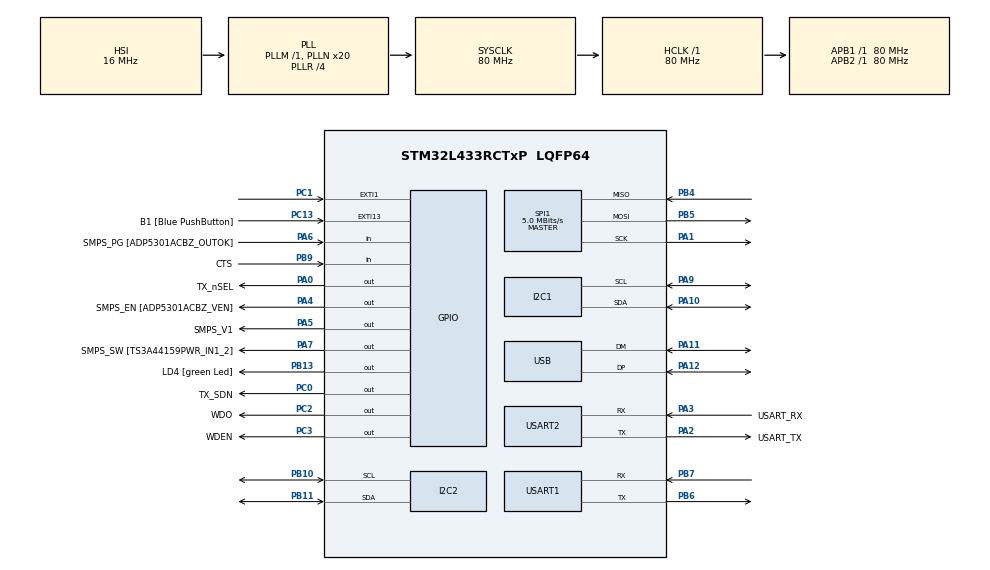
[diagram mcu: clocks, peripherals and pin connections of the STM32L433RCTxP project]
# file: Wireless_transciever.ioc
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I2C1.Timing=0x10909CEC
I2C2.Timing=0x10909CEC
Mcu.Family=STM32L4
Mcu.Name=STM32L433RCTxP
Mcu.Package=LQFP64
NVIC.EXTI1_IRQn=true\:0\:0\:false\:false\:true\:true\:true
NVIC.PriorityGroup=NVIC_PRIORITYGROUP_4
NVIC.USART1_IRQn=true\:0\:0\:false\:false\:true\:true\:true
PA0.GPIO_Label=TX_nSEL
PA0.Signal=GPIO_Output
PA1.Mode=Full_Duplex_Master
PA1.Signal=SPI1_SCK
PA10.Mode=I2C
PA10.Signal=I2C1_SDA
PA11.Mode=Device
PA11.Signal=USB_DM
PA12.Mode=Device
PA12.Signal=USB_DP
PA13\ (JTMS-SWDIO).GPIO_Label=TMS
PA13\ (JTMS-SWDIO).Mode=Serial_Wire
PA13\ (JTMS-SWDIO).Signal=SYS_JTMS-SWDIO
PA14\ (JTCK-SWCLK).GPIO_Label=TCK
PA14\ (JTCK-SWCLK).Mode=Serial_Wire
PA14\ (JTCK-SWCLK).Signal=SYS_JTCK-SWCLK
PA2.GPIO_Label=USART_TX
PA2.GPIO_Mode=GPIO_MODE_AF_PP
PA2.GPIO_PuPd=GPIO_NOPULL
PA2.GPIO_Speed=GPIO_SPEED_FREQ_VERY_HIGH
PA2.Mode=Asynchronous
PA2.Signal=USART2_TX
PA3.GPIO_Label=USART_RX
PA3.GPIO_Mode=GPIO_MODE_AF_PP
PA3.GPIO_PuPd=GPIO_NOPULL
PA3.GPIO_Speed=GPIO_SPEED_FREQ_VERY_HIGH
PA3.Mode=Asynchronous
PA3.Signal=USART2_RX
PA4.GPIO_Label=SMPS_EN [ADP5301ACBZ_VEN]
PA4.Signal=GPIO_Output
PA5.GPIO_Label=SMPS_V1
PA5.GPIO_ModeDefaultOutputPP=GPIO_MODE_OUTPUT_PP
PA5.GPIO_PuPd=GPIO_NOPULL
PA5.GPIO_Speed=GPIO_SPEED_FREQ_LOW
PA5.Signal=GPIO_Output
PA6.GPIO_Label=SMPS_PG [ADP5301ACBZ_OUTOK]
PA6.GPIO_PuPd=GPIO_PULLUP
PA6.Signal=GPIO_Input
PA7.GPIO_Label=SMPS_SW [TS3A44159PWR_IN1_2]
PA7.Signal=GPIO_Output
PA9.Mode=I2C
PA9.Signal=I2C1_SCL
PB10.Mode=I2C
PB10.Signal=I2C2_SCL
PB11.Mode=I2C
PB11.Signal=I2C2_SDA
PB13.GPIO_Label=LD4 [green Led]
PB13.Signal=GPIO_Output
PB3\ (JTDO-TRACESWO).GPIO_Label=SWO
PB3\ (JTDO-TRACESWO).Signal=SYS_JTDO-SWO
PB4\ (NJTRST).Mode=Full_Duplex_Master
PB4\ (NJTRST).Signal=SPI1_MISO
PB5.Mode=Full_Duplex_Master
PB5.Signal=SPI1_MOSI
PB6.Mode=Asynchronous
PB6.Signal=USART1_TX
PB7.Mode=Asynchronous
PB7.Signal=USART1_RX
PB9.GPIO_Label=CTS
PB9.Signal=GPIO_Input
PC0.GPIO_Label=TX_SDN
PC0.Signal=GPIO_Output
PC1.GPIO_ModeDefaultEXTI=GPIO_MODE_IT_FALLING
PC1.Signal=GPXTI1
PC13.GPIO_Label=B1 [Blue PushButton]
PC13.GPIO_ModeDefaultEXTI=GPIO_MODE_IT_FALLING
PC13.GPIO_PuPd=GPIO_NOPULL
PC13.Signal=GPXTI13
PC14-OSC32_IN\ (PC14).Mode=LSE-External-Oscillator
PC14-OSC32_IN\ (PC14).Signal=RCC_OSC32_IN
PC15-OSC32_OUT\ (PC15).Mode=LSE-External-Oscillator
PC15-OSC32_OUT\ (PC15).Signal=RCC_OSC32_OUT
PC2.GPIO_Label=WDO
PC2.Signal=GPIO_Output
PC3.GPIO_Label=WDEN
PC3.Signal=GPIO_Output
PH0-OSC_IN\ (PH0).GPIO_Label=MCO
PH0-OSC_IN\ (PH0).Mode=HSE-External-Clock-Source
PH0-OSC_IN\ (PH0).Signal=RCC_OSC_IN
PH1-OSC_OUT\ (PH1).Signal=RCC_OSC_OUT
ProjectManager.HeapSize=0x200
ProjectManager.StackSize=0x400
ProjectManager.TargetToolchain=MDK-ARM V5.32
RCC.ADCFreq_Value=80000000
RCC.AHBFreq_Value=80000000
RCC.APB1Freq_Value=80000000
RCC.APB1TimFreq_Value=80000000
RCC.APB2Freq_Value=80000000
RCC.APB2TimFreq_Value=80000000
RCC.CK48CLockSelection=RCC_USBCLKSOURCE_HSI48
RCC.CortexFreq_Value=80000000
RCC.HCLKFreq_Value=80000000
RCC.HSE_VALUE=8000000
RCC.HSI48_VALUE=48000000
RCC.HSI_VALUE=16000000
RCC.MSI_VALUE=4000000
RCC.PLLN=20
RCC.PLLR=RCC_PLLR_DIV4
RCC.PLLSAI1N=10
RCC.PLLSourceVirtual=RCC_PLLSOURCE_HSI
RCC.PREFETCH_ENABLE=1
RCC.SYSCLKFreq_VALUE=80000000
RCC.SYSCLKSource=RCC_SYSCLKSOURCE_PLLCLK
RCC.USBFreq_Value=48000000
RCC.VCOOutputFreq_Value=320000000
SPI1.BaudRatePrescaler=SPI_BAUDRATEPRESCALER_16
SPI1.CalculateBaudRate=5.0 MBits/s
SPI1.DataSize=SPI_DATASIZE_8BIT
SPI1.Direction=SPI_DIRECTION_2LINES
SPI1.Mode=SPI_MODE_MASTER
SPI1.VirtualType=VM_MASTER
USART1.VirtualMode-Asynchronous=VM_ASYNC
USART2.VirtualMode-Asynchronous=VM_ASYNC
board=NUCLEO-L433RC-P

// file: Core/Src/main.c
/* USER CODE BEGIN Header */
/**
  ******************************************************************************
  * @file           : main.c
  * @brief          : Main program body
  ******************************************************************************
  * @attention
  *
  * Copyright (c) 2023 STMicroelectronics.
  * All rights reserved.
  *
  * This software is licensed under terms that can be found in the LICENSE file
  * in the root directory of this software component.
  * If no LICENSE file comes with this software, it is provided AS-IS.
  *
  ******************************************************************************
  */
/* USER CODE END Header */
#include "main.h"

/* USER CODE BEGIN Includes */
#include "si4463.h"
#include <stdlib.h>
/* USER CODE END Includes */

I2C_HandleTypeDef hi2c1;
I2C_HandleTypeDef hi2c2;

SPI_HandleTypeDef hspi1;

UART_HandleTypeDef huart1;
UART_HandleTypeDef huart2;

PCD_HandleTypeDef hpcd_USB_FS;

/* USER CODE BEGIN PV */
#define APP_PACKET_LEN		((uint16_t) 10)

si4463_t si4463;
uint8_t incomingBuffer[APP_PACKET_LEN];
uint8_t outgoingBuffer[APP_PACKET_LEN];

/* USER CODE END PV */

void SystemClock_Config(void);
static void MX_GPIO_Init(void);
static void MX_I2C1_Init(void);
static void MX_I2C2_Init(void);
static void MX_SPI1_Init(void);
static void MX_USART2_UART_Init(void);
static void MX_USB_PCD_Init(void);
static void MX_USART1_UART_Init(void);
/* USER CODE BEGIN PFP */
void refresh_watchdog(void);
uint8_t SI4463_IsCTS(void);
void SI4463_WriteRead(const uint8_t * pTxData, uint8_t * pRxData, const uint16_t sizeTxData);
void SI4463_SetShutdown(void);
void SI4463_ClearShutdown(void);
void SI4463_Select(void);
void SI4463_Deselect(void);
/* USER CODE END PFP */

int main(void)
{

  /* MCU Configuration--------------------------------------------------------*/

  /* Reset of all peripherals, Initializes the Flash interface and the Systick. */
  HAL_Init();

  /* Configure the system clock */
  SystemClock_Config();

  /* Initialize all configured peripherals */
  MX_GPIO_Init();
  MX_I2C1_Init();
  MX_I2C2_Init();
  MX_SPI1_Init();
  MX_USART2_UART_Init();
  MX_USB_PCD_Init();
  MX_USART1_UART_Init();
  /* USER CODE BEGIN 2 */
#ifdef DEMOFEST
  /* Debug message on uart */
  HAL_UART_Transmit(&huart1, "START\n", 6, 10);
#endif

  /* Assign functions */
  si4463.IsClearToSend = SI4463_IsCTS;
  si4463.WriteRead = SI4463_WriteRead;
  si4463.Select = SI4463_Select;
  si4463.Deselect = SI4463_Deselect;
  si4463.SetShutdown = SI4463_SetShutdown;
  si4463.ClearShutdown = SI4463_ClearShutdown;
  si4463.DelayMs = HAL_Delay;

  /* Disable interrupt pin for init Si4463 */
  HAL_NVIC_DisableIRQ(EXTI0_IRQn);

  /* Init Si4463 with structure */
  SI4463_Init(&si4463);

  /* Clear RX FIFO before starting RX packets */
  SI4463_ClearRxFifo(&si4463);
  /* Start RX mode.
   * SI4463_StartRx() put a chip in non-armed mode in cases:
   * - successfully receive a packet;
   * - invoked RX_TIMEOUT;
   * - invalid receive.
   * For receiveing next packet you have to invoke SI4463_StartRx() again!*/
  SI4463_StartRx(&si4463, APP_PACKET_LEN, false, false, false);

#ifdef DEMOFEST
  /* Debug message on UART */
  HAL_UART_Transmit(&huart1, "INIT\n", 5, 10);
#endif

  /* Enable interrupt pin and */
  HAL_NVIC_EnableIRQ(EXTI0_IRQn);
  /* Clear interrupts after enabling interrupt pin.
   * Without it may be situation when interrupt is asserted but pin not cleared.*/
  SI4463_ClearInterrupts(&si4463);
  /* USER CODE END 2 */

  /* Infinite loop */
  while (1)
  {

    /* USER CODE BEGIN 3 */
		for(int i = 0; i<100;i++)
		{
		/* Send test packet */
	  outgoingBuffer[0] = rand() & 0xFF;
	  outgoingBuffer[1] = rand() & 0xFF;
	  outgoingBuffer[2] = rand() & 0xFF;
	  outgoingBuffer[3] = rand() & 0xFF;
	  outgoingBuffer[4] = rand() & 0xFF;
	  outgoingBuffer[5] = rand() & 0xFF;
	  outgoingBuffer[6] = rand() & 0xFF;
	  SI4463_Transmit(&si4463, outgoingBuffer, APP_PACKET_LEN);
		refresh_watchdog();
	  HAL_Delay(100);//here you can select how fast you want to transmit

	  /* End of send of test packet */
		}
		for(int j = 0; j<100;j++)
		{
		SI4463_ClearRxFifo(&si4463);
  /* Start RX mode.
   * SI4463_StartRx() put a chip in non-armed mode in cases:
   * - successfully receive a packet;
   * - invoked RX_TIMEOUT;
   * - invalid receive.
   * For receiveing next packet you have to invoke SI4463_StartRx() again!*/
  SI4463_StartRx(&si4463, APP_PACKET_LEN, false, false, false);
		refresh_watchdog();
	  HAL_Delay(100);//here you can select how fast you want to transmit

	  /* End of send of test packet */
		}

  }
  /* USER CODE END 3 */
}

void SystemClock_Config(void)
{
  RCC_OscInitTypeDef RCC_OscInitStruct = {0};
  RCC_ClkInitTypeDef RCC_ClkInitStruct = {0};

  /** Configure the main internal regulator output voltage
  */
  if (HAL_PWREx_ControlVoltageScaling(PWR_REGULATOR_VOLTAGE_SCALE1) != HAL_OK)
  {
    Error_Handler();
  }
  /** Initializes the RCC Oscillators according to the specified parameters
  * in the RCC_OscInitTypeDef structure.
  */
  RCC_OscInitStruct.OscillatorType = RCC_OSCILLATORTYPE_HSI48|RCC_OSCILLATORTYPE_HSI;
  RCC_OscInitStruct.HSIState = RCC_HSI_ON;
  RCC_OscInitStruct.HSI48State = RCC_HSI48_ON;
  RCC_OscInitStruct.HSICalibrationValue = RCC_HSICALIBRATION_DEFAULT;
  RCC_OscInitStruct.PLL.PLLState = RCC_PLL_ON;
  RCC_OscInitStruct.PLL.PLLSource = RCC_PLLSOURCE_HSI;
  RCC_OscInitStruct.PLL.PLLM = 1;
  RCC_OscInitStruct.PLL.PLLN = 20;
  RCC_OscInitStruct.PLL.PLLP = RCC_PLLP_DIV7;
  RCC_OscInitStruct.PLL.PLLQ = RCC_PLLQ_DIV2;
  RCC_OscInitStruct.PLL.PLLR = RCC_PLLR_DIV4;
  if (HAL_RCC_OscConfig(&RCC_OscInitStruct) != HAL_OK)
  {
    Error_Handler();
  }
  /** Initializes the CPU, AHB and APB buses clocks
  */
  RCC_ClkInitStruct.ClockType = RCC_CLOCKTYPE_HCLK|RCC_CLOCKTYPE_SYSCLK
                              |RCC_CLOCKTYPE_PCLK1|RCC_CLOCKTYPE_PCLK2;
  RCC_ClkInitStruct.SYSCLKSource = RCC_SYSCLKSOURCE_PLLCLK;
  RCC_ClkInitStruct.AHBCLKDivider = RCC_SYSCLK_DIV1;
  RCC_ClkInitStruct.APB1CLKDivider = RCC_HCLK_DIV1;
  RCC_ClkInitStruct.APB2CLKDivider = RCC_HCLK_DIV1;

  if (HAL_RCC_ClockConfig(&RCC_ClkInitStruct, FLASH_LATENCY_4) != HAL_OK)
  {
    Error_Handler();
  }
}

static void MX_I2C1_Init(void)
{

  hi2c1.Instance = I2C1;
  hi2c1.Init.Timing = 0x10909CEC;
  hi2c1.Init.OwnAddress1 = 0;
  hi2c1.Init.AddressingMode = I2C_ADDRESSINGMODE_7BIT;
  hi2c1.Init.DualAddressMode = I2C_DUALADDRESS_DISABLE;
  hi2c1.Init.OwnAddress2 = 0;
  hi2c1.Init.OwnAddress2Masks = I2C_OA2_NOMASK;
  hi2c1.Init.GeneralCallMode = I2C_GENERALCALL_DISABLE;
  hi2c1.Init.NoStretchMode = I2C_NOSTRETCH_DISABLE;
  if (HAL_I2C_Init(&hi2c1) != HAL_OK)
  {
    Error_Handler();
  }
  /** Configure Analogue filter
  */
  if (HAL_I2CEx_ConfigAnalogFilter(&hi2c1, I2C_ANALOGFILTER_ENABLE) != HAL_OK)
  {
    Error_Handler();
  }
  /** Configure Digital filter
  */
  if (HAL_I2CEx_ConfigDigitalFilter(&hi2c1, 0) != HAL_OK)
  {
    Error_Handler();
  }

}

static void MX_I2C2_Init(void)
{

  hi2c2.Instance = I2C2;
  hi2c2.Init.Timing = 0x10909CEC;
  hi2c2.Init.OwnAddress1 = 0;
  hi2c2.Init.AddressingMode = I2C_ADDRESSINGMODE_7BIT;
  hi2c2.Init.DualAddressMode = I2C_DUALADDRESS_DISABLE;
  hi2c2.Init.OwnAddress2 = 0;
  hi2c2.Init.OwnAddress2Masks = I2C_OA2_NOMASK;
  hi2c2.Init.GeneralCallMode = I2C_GENERALCALL_DISABLE;
  hi2c2.Init.NoStretchMode = I2C_NOSTRETCH_DISABLE;
  if (HAL_I2C_Init(&hi2c2) != HAL_OK)
  {
    Error_Handler();
  }
  /** Configure Analogue filter
  */
  if (HAL_I2CEx_ConfigAnalogFilter(&hi2c2, I2C_ANALOGFILTER_ENABLE) != HAL_OK)
  {
    Error_Handler();
  }
  /** Configure Digital filter
  */
  if (HAL_I2CEx_ConfigDigitalFilter(&hi2c2, 0) != HAL_OK)
  {
    Error_Handler();
  }

}

static void MX_SPI1_Init(void)
{

  /* SPI1 parameter configuration*/
  hspi1.Instance = SPI1;
  hspi1.Init.Mode = SPI_MODE_MASTER;
  hspi1.Init.Direction = SPI_DIRECTION_2LINES;
  hspi1.Init.DataSize = SPI_DATASIZE_8BIT;
  hspi1.Init.CLKPolarity = SPI_POLARITY_LOW;
  hspi1.Init.CLKPhase = SPI_PHASE_1EDGE;
  hspi1.Init.NSS = SPI_NSS_SOFT;
  hspi1.Init.BaudRatePrescaler = SPI_BAUDRATEPRESCALER_16;
  hspi1.Init.FirstBit = SPI_FIRSTBIT_MSB;
  hspi1.Init.TIMode = SPI_TIMODE_DISABLE;
  hspi1.Init.CRCCalculation = SPI_CRCCALCULATION_DISABLE;
  hspi1.Init.CRCPolynomial = 7;
  hspi1.Init.CRCLength = SPI_CRC_LENGTH_DATASIZE;
  hspi1.Init.NSSPMode = SPI_NSS_PULSE_ENABLE;
  if (HAL_SPI_Init(&hspi1) != HAL_OK)
  {
    Error_Handler();
  }

}

static void MX_USART1_UART_Init(void)
{

  huart1.Instance = USART1;
  huart1.Init.BaudRate = 115200;
  huart1.Init.WordLength = UART_WORDLENGTH_8B;
  huart1.Init.StopBits = UART_STOPBITS_1;
  huart1.Init.Parity = UART_PARITY_NONE;
  huart1.Init.Mode = UART_MODE_TX_RX;
  huart1.Init.HwFlowCtl = UART_HWCONTROL_NONE;
  huart1.Init.OverSampling = UART_OVERSAMPLING_16;
  huart1.Init.OneBitSampling = UART_ONE_BIT_SAMPLE_DISABLE;
  huart1.AdvancedInit.AdvFeatureInit = UART_ADVFEATURE_NO_INIT;
  if (HAL_UART_Init(&huart1) != HAL_OK)
  {
    Error_Handler();
  }

}

static void MX_USART2_UART_Init(void)
{

  huart2.Instance = USART2;
  huart2.Init.BaudRate = 115200;
  huart2.Init.WordLength = UART_WORDLENGTH_8B;
  huart2.Init.StopBits = UART_STOPBITS_1;
  huart2.Init.Parity = UART_PARITY_NONE;
  huart2.Init.Mode = UART_MODE_TX_RX;
  huart2.Init.HwFlowCtl = UART_HWCONTROL_NONE;
  huart2.Init.OverSampling = UART_OVERSAMPLING_16;
  huart2.Init.OneBitSampling = UART_ONE_BIT_SAMPLE_DISABLE;
  huart2.AdvancedInit.AdvFeatureInit = UART_ADVFEATURE_NO_INIT;
  if (HAL_UART_Init(&huart2) != HAL_OK)
  {
    Error_Handler();
  }

}

static void MX_USB_PCD_Init(void)
{

  hpcd_USB_FS.Instance = USB;
  hpcd_USB_FS.Init.dev_endpoints = 8;
  hpcd_USB_FS.Init.speed = PCD_SPEED_FULL;
  hpcd_USB_FS.Init.phy_itface = PCD_PHY_EMBEDDED;
  hpcd_USB_FS.Init.Sof_enable = DISABLE;
  hpcd_USB_FS.Init.low_power_enable = DISABLE;
  hpcd_USB_FS.Init.lpm_enable = DISABLE;
  hpcd_USB_FS.Init.battery_charging_enable = DISABLE;
  if (HAL_PCD_Init(&hpcd_USB_FS) != HAL_OK)
  {
    Error_Handler();
  }

}

static void MX_GPIO_Init(void)
{
  GPIO_InitTypeDef GPIO_InitStruct = {0};

  /* GPIO Ports Clock Enable */
  __HAL_RCC_GPIOC_CLK_ENABLE();
  __HAL_RCC_GPIOH_CLK_ENABLE();
  __HAL_RCC_GPIOA_CLK_ENABLE();
  __HAL_RCC_GPIOB_CLK_ENABLE();

  /*Configure GPIO pin Output Level */
  HAL_GPIO_WritePin(GPIOC, TX_SDN_Pin|WDO_Pin|WDEN_Pin, GPIO_PIN_RESET);

  /*Configure GPIO pin Output Level */
  HAL_GPIO_WritePin(GPIOA, TX_nSEL_Pin|SMPS_EN_Pin|SMPS_V1_Pin|SMPS_SW_Pin, GPIO_PIN_RESET);

  /*Configure GPIO pin Output Level */
  HAL_GPIO_WritePin(LD4_GPIO_Port, LD4_Pin, GPIO_PIN_RESET);

  /*Configure GPIO pins : B1_Pin PC1 */
  GPIO_InitStruct.Pin = B1_Pin|GPIO_PIN_1;
  GPIO_InitStruct.Mode = GPIO_MODE_IT_FALLING;
  GPIO_InitStruct.Pull = GPIO_NOPULL;
  HAL_GPIO_Init(GPIOC, &GPIO_InitStruct);

  /*Configure GPIO pins : TX_SDN_Pin WDO_Pin WDEN_Pin */
  GPIO_InitStruct.Pin = TX_SDN_Pin|WDO_Pin|WDEN_Pin;
  GPIO_InitStruct.Mode = GPIO_MODE_OUTPUT_PP;
  GPIO_InitStruct.Pull = GPIO_NOPULL;
  GPIO_InitStruct.Speed = GPIO_SPEED_FREQ_LOW;
  HAL_GPIO_Init(GPIOC, &GPIO_InitStruct);

  /*Configure GPIO pins : TX_nSEL_Pin SMPS_EN_Pin SMPS_V1_Pin SMPS_SW_Pin */
  GPIO_InitStruct.Pin = TX_nSEL_Pin|SMPS_EN_Pin|SMPS_V1_Pin|SMPS_SW_Pin;
  GPIO_InitStruct.Mode = GPIO_MODE_OUTPUT_PP;
  GPIO_InitStruct.Pull = GPIO_NOPULL;
  GPIO_InitStruct.Speed = GPIO_SPEED_FREQ_LOW;
  HAL_GPIO_Init(GPIOA, &GPIO_InitStruct);

  /*Configure GPIO pin : SMPS_PG_Pin */
  GPIO_InitStruct.Pin = SMPS_PG_Pin;
  GPIO_InitStruct.Mode = GPIO_MODE_INPUT;
  GPIO_InitStruct.Pull = GPIO_PULLUP;
  HAL_GPIO_Init(SMPS_PG_GPIO_Port, &GPIO_InitStruct);

  /*Configure GPIO pin : LD4_Pin */
  GPIO_InitStruct.Pin = LD4_Pin;
  GPIO_InitStruct.Mode = GPIO_MODE_OUTPUT_PP;
  GPIO_InitStruct.Pull = GPIO_NOPULL;
  GPIO_InitStruct.Speed = GPIO_SPEED_FREQ_LOW;
  HAL_GPIO_Init(LD4_GPIO_Port, &GPIO_InitStruct);

  /*Configure GPIO pin : CTS_Pin */
  GPIO_InitStruct.Pin = CTS_Pin;
  GPIO_InitStruct.Mode = GPIO_MODE_INPUT;
  GPIO_InitStruct.Pull = GPIO_NOPULL;
  HAL_GPIO_Init(CTS_GPIO_Port, &GPIO_InitStruct);

  /* EXTI interrupt init*/
  HAL_NVIC_SetPriority(EXTI1_IRQn, 0, 0);
  HAL_NVIC_EnableIRQ(EXTI1_IRQn);

}

/* USER CODE BEGIN 4 */
void HAL_GPIO_EXTI_Callback(uint16_t GPIO_Pin)
{
  /* Prevent unused argument(s) compilation warning */
  UNUSED(GPIO_Pin);

  /* Clear incoming buffer */
  memset(incomingBuffer, 0x00, APP_PACKET_LEN);

  /* Get interrupts and work with it */
  SI4463_GetInterrupts(&si4463);

  /* Handling PH interrupts */
  if (si4463.interrupts.filterMatch)
  {
	  /* Handling this interrupt here */
	  /* Following instruction only for add breakpoints. May be deleted */
	  si4463.interrupts.filterMatch = false;
  }
  if (si4463.interrupts.filterMiss)
  {
	  /* Handling this interrupt here */
	  /* Following instruction only for add breakpoints. May be deleted */
	  si4463.interrupts.filterMiss = false;
  }
  if (si4463.interrupts.packetSent)
  {
	  /* Handling this interrupt here */
	  /* Clear TX FIFO */
	  SI4463_ClearTxFifo(&si4463);
#ifdef DEMOFEST
	  HAL_UART_Transmit(&huart1, "OUT >", 5, 10);
	  HAL_UART_Transmit(&huart1, outgoingBuffer, APP_PACKET_LEN, 10);
	  HAL_UART_Transmit(&huart1, "\n", 1, 10);
#endif /* DEMOFEST */
	  /* Re-arm StartRX */
	  SI4463_StartRx(&si4463, APP_PACKET_LEN, false, false, false);

	  /*Toggle led for indication*/
	  HAL_GPIO_TogglePin(LD4_GPIO_Port, LD4_Pin);
	  /* Following instruction only for add breakpoints. May be deleted */
	  si4463.interrupts.packetSent = false;
  }
  if (si4463.interrupts.packetRx)
  {
	  /* Handling this interrupt here */
	  /* Get FIFO data */
	  SI4463_ReadRxFifo(&si4463, incomingBuffer, APP_PACKET_LEN);
	  /* Clear RX FIFO */
	  SI4463_ClearRxFifo(&si4463);
#ifdef DEMOFEST
	  HAL_UART_Transmit(&huart1, "IN >", 4, 10);
	  HAL_UART_Transmit(&huart1, incomingBuffer, APP_PACKET_LEN, 10);
	  HAL_UART_Transmit(&huart1, "\n", 1, 10);
#endif /* DEMOFEST */

	  /* Start RX again.
	   * It need because after successful receive a packet the chip change
	   * state to READY.
	   * There is re-armed mode for StartRx but it not correctly working */
	  SI4463_StartRx(&si4463, APP_PACKET_LEN, false, false, false);

	  /*Toggle led for indication*/
	  HAL_GPIO_TogglePin(LD4_GPIO_Port, LD4_Pin);

	  /* Following instruction only for add breakpoints. May be deleted */
	  si4463.interrupts.packetRx = false;
  }
  if (si4463.interrupts.crcError)
  {
	  /* Handling this interrupt here */

	  /* Following instruction only for add breakpoints. May be deleted */
	  si4463.interrupts.crcError = false;
  }
  if (si4463.interrupts.txFifoAlmostEmpty)
  {
	  /* Handling this interrupt here */

	  /* Following instruction only for add breakpoints. May be deleted */
	  si4463.interrupts.txFifoAlmostEmpty = false;
  }
  if (si4463.interrupts.rxFifoAlmostFull)
  {
	  /* Handling this interrupt here */

	  /* Following instruction only for add breakpoints. May be deleted */
	  si4463.interrupts.rxFifoAlmostFull = false;
  }

  /* Handling Modem interrupts */
  if (si4463.interrupts.postambleDetect)
  {
	  /* Handling this interrupt here */
	  /* Following instruction only for add breakpoints. May be deleted */
	  si4463.interrupts.postambleDetect = false;
  }
  if (si4463.interrupts.invalidSync)
  {
	  /* Handling this interrupt here */
	  /* Following instruction only for add breakpoints. May be deleted */
	  si4463.interrupts.invalidSync = false;
  }
  if (si4463.interrupts.rssiJump)
  {
	  /* Handling this interrupt here */
	  /* Following instruction only for add breakpoints. May be deleted */
	  si4463.interrupts.rssiJump = false;
  }
  if (si4463.interrupts.rssi)
  {
	  /* Handling this interrupt here */
	  /* Following instruction only for add breakpoints. May be deleted */
	  si4463.interrupts.rssi = false;
  }
  if (si4463.interrupts.invalidPreamble)
  {
	  /* Handling this interrupt here */
	  /* Following instruction only for add breakpoints. May be deleted */
	  si4463.interrupts.invalidPreamble = false;
  }
  if (si4463.interrupts.preambleDetect)
  {
	  /* Handling this interrupt here */
	  /* Following instruction only for add breakpoints. May be deleted */
	  si4463.interrupts.preambleDetect = false;
  }
  if (si4463.interrupts.syncDetect)
  {
	  /* Handling this interrupt here */
	  /* Following instruction only for add breakpoints. May be deleted */
	  si4463.interrupts.syncDetect = false;
  }

  /* Handling Chip interrupts */
  if (si4463.interrupts.cal)
  {
	  /* Handling this interrupt here */
	  SI4463_GetChipStatus(&si4463);
	  /* Following instruction only for add breakpoints. May be deleted */
	  si4463.interrupts.cal = false;
  }
  if (si4463.interrupts.fifoUnderflowOverflowError)
  {
	  /* Handling this interrupt here */
	  /* Clear RX FIFO */
	  SI4463_ClearRxFifo(&si4463);
	  /* Claer Chip Status errors if exists */
	  SI4463_GetChipStatus(&si4463);
	  /* Following instruction only for add breakpoints. May be deleted */
	  si4463.interrupts.fifoUnderflowOverflowError = false;
  }
  if (si4463.interrupts.stateChange)
  {
	  /* Handling this interrupt here */
	  SI4463_GetChipStatus(&si4463);
	  /* Following instruction only for add breakpoints. May be deleted */
	  si4463.interrupts.stateChange = false;
  }
  if (si4463.interrupts.cmdError)
  {
	  /* Handling this interrupt here */
	  SI4463_GetChipStatus(&si4463);
	  /* Following instruction only for add breakpoints. May be deleted */
	  si4463.interrupts.stateChange = false;
  }
  if (si4463.interrupts.chipReady)
  {
	  /* Handling this interrupt here */
	  SI4463_GetChipStatus(&si4463);
	  /* Following instruction only for add breakpoints. May be deleted */
	  si4463.interrupts.chipReady = false;
  }
  if (si4463.interrupts.lowBatt)
  {
	  /* Handling this interrupt here */
	  SI4463_GetChipStatus(&si4463);
	  /* Following instruction only for add breakpoints. May be deleted */
	  si4463.interrupts.lowBatt = false;
  }
  if (si4463.interrupts.wut)
  {
	  /* Handling this interrupt here */
	  SI4463_GetChipStatus(&si4463);
	  /* Following instruction only for add breakpoints. May be deleted */
	  si4463.interrupts.wut = false;
  }

  /* Clear All interrupts before exit */
  SI4463_ClearAllInterrupts(&si4463);
}

void HAL_UART_RxCpltCallback(UART_HandleTypeDef *huart)
{
  /* Prevent unused argument(s) compilation warning */
  UNUSED(huart);
}

uint8_t SI4463_IsCTS(void)
{
	if(HAL_GPIO_ReadPin(CTS_GPIO_Port, CTS_Pin) == GPIO_PIN_SET)
	{
		return true;
	}
	else
	{
		return false;
	}
}

void SI4463_WriteRead(const uint8_t * pTxData, uint8_t * pRxData, const uint16_t sizeTxData)
{
	HAL_SPI_TransmitReceive(&hspi1, (uint8_t*)pTxData, pRxData, sizeTxData, 100);
}

void SI4463_SetShutdown(void)
{
	HAL_GPIO_WritePin(TX_SDN_GPIO_Port, TX_SDN_Pin, GPIO_PIN_SET);
}

void SI4463_ClearShutdown(void)
{
	HAL_GPIO_WritePin(TX_SDN_GPIO_Port, TX_SDN_Pin, GPIO_PIN_RESET);
}

void SI4463_Select(void)
{
	HAL_GPIO_WritePin(TX_nSEL_GPIO_Port, TX_nSEL_Pin, GPIO_PIN_RESET);
}

void SI4463_Deselect(void)
{
	HAL_GPIO_WritePin(TX_nSEL_GPIO_Port, TX_nSEL_Pin, GPIO_PIN_SET);
}

void refresh_watchdog(void)
{
	HAL_GPIO_WritePin(WDO_GPIO_Port,WDO_Pin,GPIO_PIN_SET);//here you can select that how the watchdog will be reset, active high or active low
	HAL_Delay(10);
	HAL_GPIO_WritePin(WDO_GPIO_Port,WDO_Pin,GPIO_PIN_RESET);

}
/* USER CODE END 4 */

void Error_Handler(void)
{
  __disable_irq();
  while (1)
  {
  }
}
